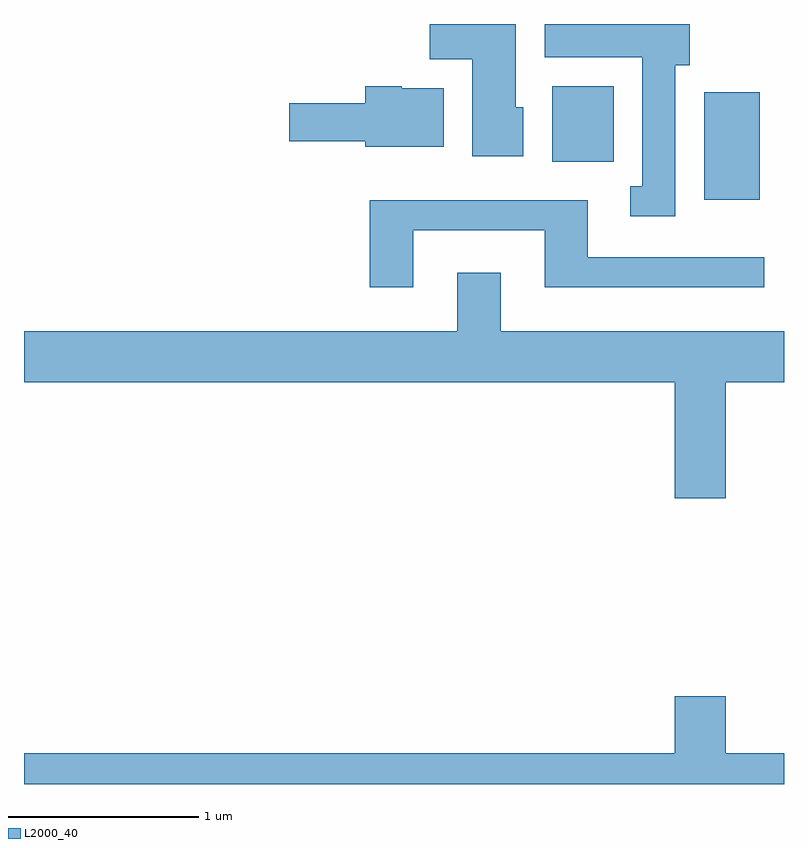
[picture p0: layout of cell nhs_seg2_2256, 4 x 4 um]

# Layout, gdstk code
import gdstk
lib = gdstk.Library(unit=1e-6, precision=1e-09)
def R(c, l, rs):  # rectangles x0, y0, x1, y1
    for r in rs: c.add(gdstk.rectangle(r[:2], r[2:], *l))
def P(c, l, *ps):  # polygons
    for p in ps: c.add(gdstk.Polygon(p, *l))
L2000_40 = (2000, 40)

nhs_seg2_2256 = lib.new_cell('nhs_seg2_2256')
R(nhs_seg2_2256, L2000_40, [(255.191,1004.876,255.484,1005.444), (254.391,1005.076,254.714,1005.474)])
P(nhs_seg2_2256, L2000_40, [(255.039,1005.586),(255.114,1005.586),(255.114,1005.802),(254.351,1005.802),(254.351,1005.626),(254.866,1005.626),(254.866,1004.949),(254.803,1004.949),(254.803,1004.791),(255.039,1004.791)],
  [(254.239,1005.364),(254.199,1005.364),(254.199,1005.802),(253.746,1005.802),(253.746,1005.616),(253.971,1005.616),(253.971,1005.106),(254.239,1005.106)],
  [(253.819,1005.464),(253.6,1005.464),(253.6,1005.474),(253.406,1005.474),(253.406,1005.384),(253.006,1005.384),(253.006,1005.186),(253.406,1005.186),(253.406,1005.156),(253.819,1005.156)],
  [(253.659,1004.716),(254.351,1004.716),(254.351,1004.416),(255.508,1004.416),(255.508,1004.574),(254.579,1004.574),(254.579,1004.874),(253.431,1004.874),(253.431,1004.416),(253.659,1004.416)],
  [(255.304,1003.916),(255.611,1003.916),(255.611,1004.184),(254.119,1004.184),(254.119,1004.494),(253.891,1004.494),(253.891,1004.184),(251.611,1004.184),(251.611,1003.916),(255.036,1003.916),(255.036,1003.306),(255.304,1003.306)],
  [(255.611,1001.964),(255.304,1001.964),(255.304,1002.264),(255.036,1002.264),(255.036,1001.964),(251.611,1001.964),(251.611,1001.802),(255.611,1001.802)])

lib.write_gds('nhs_seg2_2256.gds')
